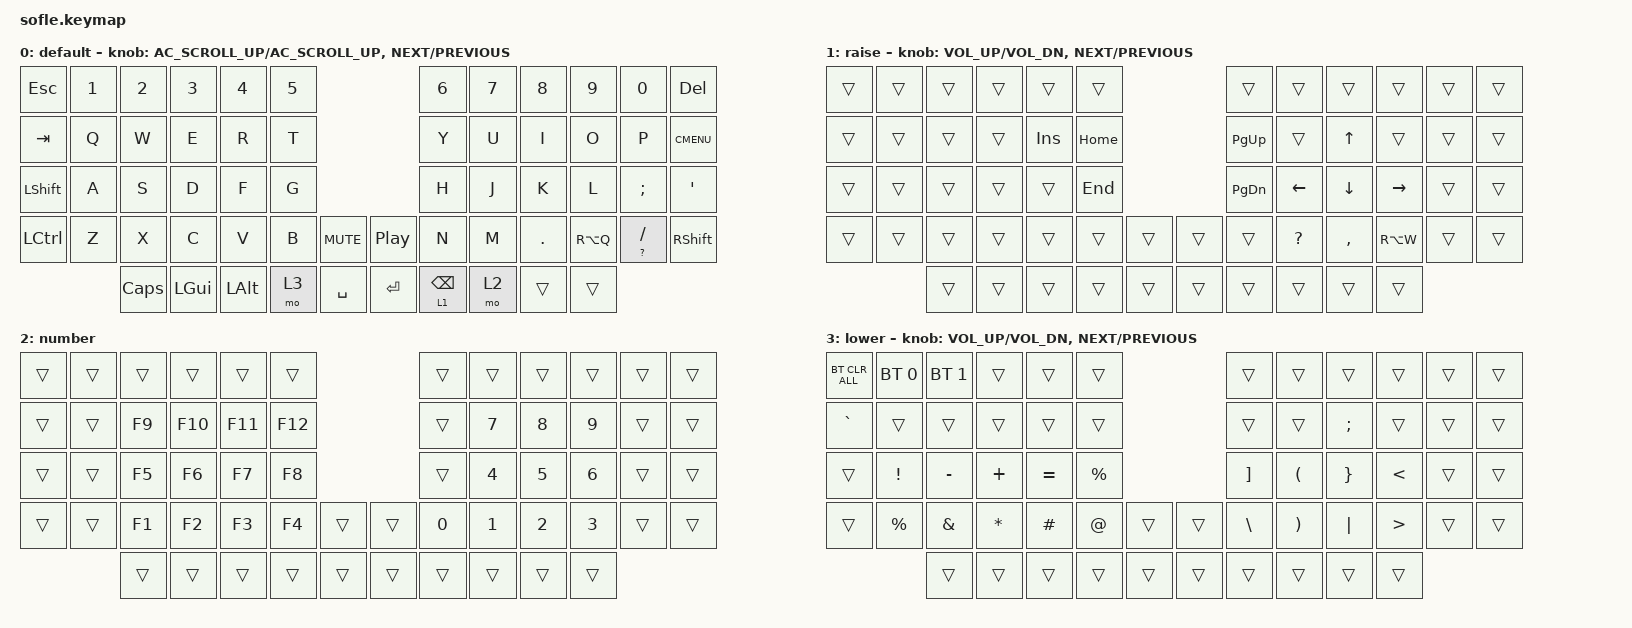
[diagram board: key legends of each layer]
/*
 * Copyright (c) 2020 The ZMK Contributors
 *
 * SPDX-License-Identifier: MIT
 */

#include <behaviors.dtsi>
#include <dt-bindings/zmk/bt.h>
#include <dt-bindings/zmk/keys.h>

#define BASE 0
#define LOWER 1
#define RAISE 2
#define ADJUST 3

&led_strip {
    chain-length = <29>; // Sofle Using All LEDs
};

/ {
    // Activate ADJUST layer by pressing raise and lower

    conditional_layers { compatible = "zmk,conditional-layers"; };

    behaviors {
        holdTap: holdTap {
            compatible = "zmk,behavior-hold-tap";
            label = "HOLDTAP";
            bindings = <&kp>, <&kp>;

            #binding-cells = <2>;
            tapping-term-ms = <400>;
            flavor = "tap-preferred";
        };

        doubleTapA: doubleTapA {
            compatible = "zmk,behavior-tap-dance";
            label = "DOUBLETAPA";
            #binding-cells = <0>;
            bindings = <&holdTap LEFT_SHIFT A>, <&kp LS(A)>;
        };

        doubleTapCedilha: doubleTapCedilha {
            compatible = "zmk,behavior-tap-dance";
            label = "DOUBLETAPCEDILHA";
            #binding-cells = <0>;
            bindings = <&holdTap LEFT_SHIFT SEMI>, <&kp LS(SEMI)>;
        };

        holdTap2: holdTap2 {
            compatible = "zmk,behavior-hold-tap";
            label = "HOLDTAP2";
            bindings = <&kp>, <&kp>;

            #binding-cells = <2>;
            tapping-term-ms = <400>;
        };
    };

    macros {
        altTab: altTab {
            compatible = "zmk,behavior-macro";
            #binding-cells = <0>;
            bindings = <&none>;
            label = "ALTTAB";
        };
    };

    combos {
        compatible = "zmk,combos";

        teste {
            bindings = <&to 0>;
            key-positions = <36 49>;
        };

        teste2 {
            bindings = <&to 0>;
            key-positions = <0 11>;
        };
    };

    keymap {
        compatible = "zmk,keymap";

        default_layer {
            display-name = "default";

            // ------------------------------------------------------------------------------------------------------------
            // |   `   |  1  |  2  |  3   |  4   |  5   |                   |  6   |  7    |  8    |  9   |   0   |       |
            // |  ESC  |  Q  |  W  |  E   |  R   |  T   |                   |  Y   |  U    |  I    |  O   |   P   | BKSPC |
            // |  TAB  |  A  |  S  |  D   |  F   |  G   |                   |  H   |  J    |  K    |  L   |   ;   |   '   |
            // | SHIFT |  Z  |  X  |  C   |  V   |  B   |  MUTE  |  |       |  N   |  M    |  ,    |  .   |   /   | SHIFT |
            //               | GUI | ALT  | CTRL | LOWER|  ENTER |  | SPACE | RAISE| CTRL  | ALT   | GUI  |

            bindings = <
&kp ESCAPE      &kp N1  &kp N2        &kp N3        &kp N4        &kp N5                                  &kp N6           &kp N7  &kp N8   &kp N9     &kp N0                   &kp DELETE
&kp TAB         &kp Q   &kp W         &kp E         &kp R         &kp T                                   &kp Y            &kp U   &kp I    &kp O      &kp P                    &kp K_CMENU
&kp LEFT_SHIFT  &kp A   &kp S         &kp D         &kp F         &kp G                                   &kp H            &kp J   &kp K    &kp L      &kp SEMI                 &kp SQT
&kp LCTRL       &kp Z   &kp X         &kp C         &kp V         &kp B   &kp C_MUTE    &kp C_PLAY_PAUSE  &kp N            &kp M   &kp DOT  &kp RA(Q)  &holdTap QUESTION SLASH  &kp RSHFT
                        &kp CAPSLOCK  &kp LEFT_GUI  &kp LEFT_ALT  &mo 3   &kp SPACE     &kp ENTER         &lt 1 BACKSPACE  &mo 2   &trans   &trans
            >;

            sensor-bindings =
                <&inc_dec_kp C_AC_SCROLL_UP C_AC_SCROLL_UP>,
                <&inc_dec_kp C_NEXT C_PREVIOUS>;
        };

        moves {
            display-name = "raise";

            // ------------------------------------------------------------------------------------------------------------
            // | BTCLR | BT1  | BT2  |  BT3  |  BT4  |  BT5 |                |      |      |       |      |       |       |
            // |       | INS  | PSCR | GUI   |       |      |                | PGUP |      |   ^   |      |       |       |
            // |       | ALT  | CTRL | SHIFT |       | CAPS |                | PGDN |   <- |   v   |  ->  |  DEL  | BKSPC |
            // |       | UNDO | CUT  | COPY  | PASTE |      |      |  |      |      |      |       |      |       |       |
            //                |      |       |       |      |      |  |      |      |      |       |      |

            bindings = <
&trans  &trans  &trans  &trans  &trans      &trans                      &trans     &trans          &trans          &trans           &trans  &trans
&trans  &trans  &trans  &trans  &kp INSERT  &kp HOME                    &kp PG_UP  &trans          &kp UP_ARROW    &trans           &trans  &trans
&trans  &trans  &trans  &trans  &trans      &kp END                     &kp PG_DN  &kp LEFT_ARROW  &kp DOWN_ARROW  &kp RIGHT_ARROW  &trans  &trans
&trans  &trans  &trans  &trans  &trans      &trans    &trans    &trans  &trans     &kp QUESTION    &kp COMMA       &kp RA(W)        &trans  &trans
                &trans  &trans  &trans      &trans    &trans    &trans  &trans     &trans          &trans          &trans
            >;

            sensor-bindings =
                <&inc_dec_kp C_VOL_UP C_VOL_DN>,
                <&inc_dec_kp C_NEXT C_PREVIOUS>;
        };

        number {
            bindings = <
&trans  &trans  &trans  &trans   &trans   &trans                     &trans  &trans  &trans  &trans  &trans  &trans
&trans  &trans  &kp F9  &kp F10  &kp F11  &kp F12                    &trans  &kp N7  &kp N8  &kp N9  &trans  &trans
&trans  &trans  &kp F5  &kp F6   &kp F7   &kp F8                     &trans  &kp N4  &kp N5  &kp N6  &trans  &trans
&trans  &trans  &kp F1  &kp F2   &kp F3   &kp F4   &trans    &trans  &kp N0  &kp N1  &kp N2  &kp N3  &trans  &trans
                &trans  &trans   &trans   &trans   &trans    &trans  &trans  &trans  &trans  &trans
            >;
        };

        Simbols {
            display-name = "lower";
            bindings = <
&bt BT_CLR_ALL  &bt BT_SEL 0  &bt BT_SEL 1   &trans        &trans     &trans                       &trans    &trans    &trans           &trans            &trans  &trans
&kp GRAVE       &trans        &trans         &trans        &trans     &trans                       &trans    &trans    &kp SEMI         &trans            &trans  &trans
&trans          &kp EXCL      &kp MINUS      &kp PLUS      &kp EQUAL  &kp PRCNT                    &kp RBKT  &kp LPAR  &kp RIGHT_BRACE  &kp LESS_THAN     &trans  &trans
&trans          &kp PERCENT   &kp AMPERSAND  &kp ASTERISK  &kp HASH   &kp AT     &trans    &trans  &kp BSLH  &kp RPAR  &kp PIPE         &kp GREATER_THAN  &trans  &trans
                              &trans         &trans        &trans     &trans     &trans    &trans  &trans    &trans    &trans           &trans
            >;

            sensor-bindings =
                <&inc_dec_kp C_VOL_UP C_VOL_DN>,
                <&inc_dec_kp C_NEXT C_PREVIOUS>;
        };
    };
};
